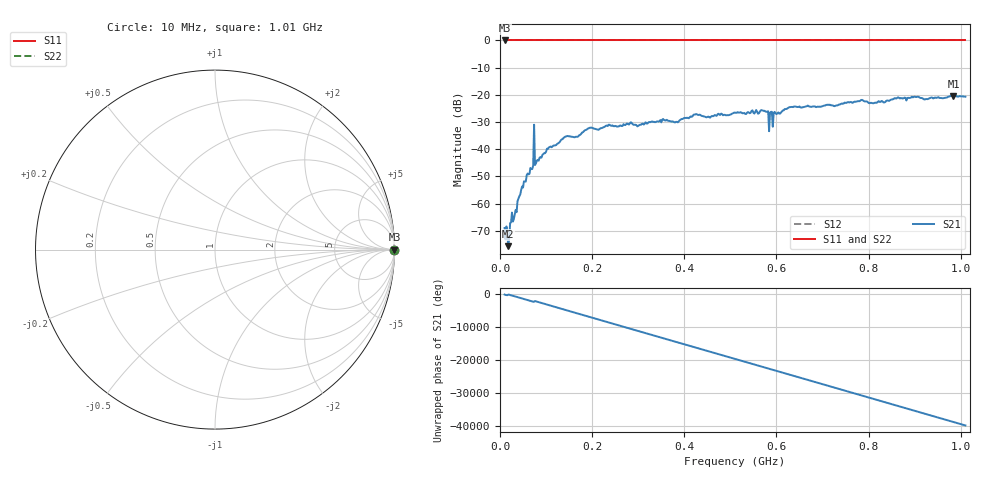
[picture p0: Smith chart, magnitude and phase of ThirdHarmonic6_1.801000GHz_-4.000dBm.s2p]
! 8/16/2025 9:47:52 PM
! C:\ANRITSUVNA\TEMP\TEMP.S2P
! CHANNEL.1
! TR.MEASUREMENT
! RAW.DATA
! RF.CORRECTION.OFF
! AVERAGING.OFF
! IF.BANDWIDTH: 5KHZ
! SWEEPTYPE:  FREQ.SWEEP(Linear)
! Reference Plane Port Info
! PORT:  PORT1  PORT2
! DISTANCE:  0  m  0  m
! TIME:  0  s  0  s
! PHASE.OFFSET:  0  deg.  0  deg.
! LOSS:  0  dB  0  dB
! REF.LOSS:  0  dB  0  dB
! REF.FREQ:  0  Hz  0  Hz
! Power Info
! POWER:  -20  dBm  -20  dBm
! EFF.POWER:  -20  dBm  -20  dBm
! SOURCE.ATTEN:  0  dB  0  dB
! TEST.ATTEN:  0  dB  0  dB
# GHZ S RI R 50.0
! FREQ.GHZ  S11RE  S11IM  S21RE  S21IM  S12RE  S12IM  S22RE  S22IM
!; PortSelection: Port_12
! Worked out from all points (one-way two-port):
!   501 points, 10 MHz to 1.01 GHz, reference 50 ohm
!   highest |S21| = -20.38 dB at 984 MHz (marker M1); lowest = -75.7 dB at 18 MHz (marker M2)
!   lowest |S11| = 0.0 dB at 10 MHz (marker M3)
!   |S11| at or under -10 dB: nowhere
!   |S22| runs from 0.0 to 0.0 dB; largest |S21 - S12| = 1.1
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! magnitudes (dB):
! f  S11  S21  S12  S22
! 10 MHz  0.0  -69.0  0.0  0.0
! 16 MHz  0.0  -71.7  0.0  0.0
! 18 MHz  0.0  -75.7  0.0  0.0
! 32 MHz  0.0  -64.0  0.0  0.0
! 44 MHz  0.0  -56.6  0.0  0.0
! 68 MHz  0.0  -47.3  0.0  0.0
! 70 MHz  0.0  -47.3  0.0  0.0
! 78 MHz  0.0  -45.2  0.0  0.0
! 80 MHz  0.0  -44.2  0.0  0.0
! 106 MHz  0.0  -39.3  0.0  0.0
! 142 MHz  0.0  -35.3  0.0  0.0
! 178 MHz  0.0  -33.9  0.0  0.0
! 196 MHz  0.0  -32.1  0.0  0.0
! 344 MHz  0.0  -29.8  0.0  0.0
! 510 MHz  0.0  -26.5  0.0  0.0
! 570 MHz  0.0  -25.7  0.0  0.0
! 588 MHz  0.0  -26.3  0.0  0.0
! 630 MHz  0.0  -24.5  0.0  0.0
! 678 MHz  0.0  -24.3  0.0  0.0
! 844 MHz  0.0  -22.2  0.0  0.0
! 984 MHz  0.0  -20.4  0.0  0.0
! 1.01 GHz  0.0  -20.7  0.0  0.0
